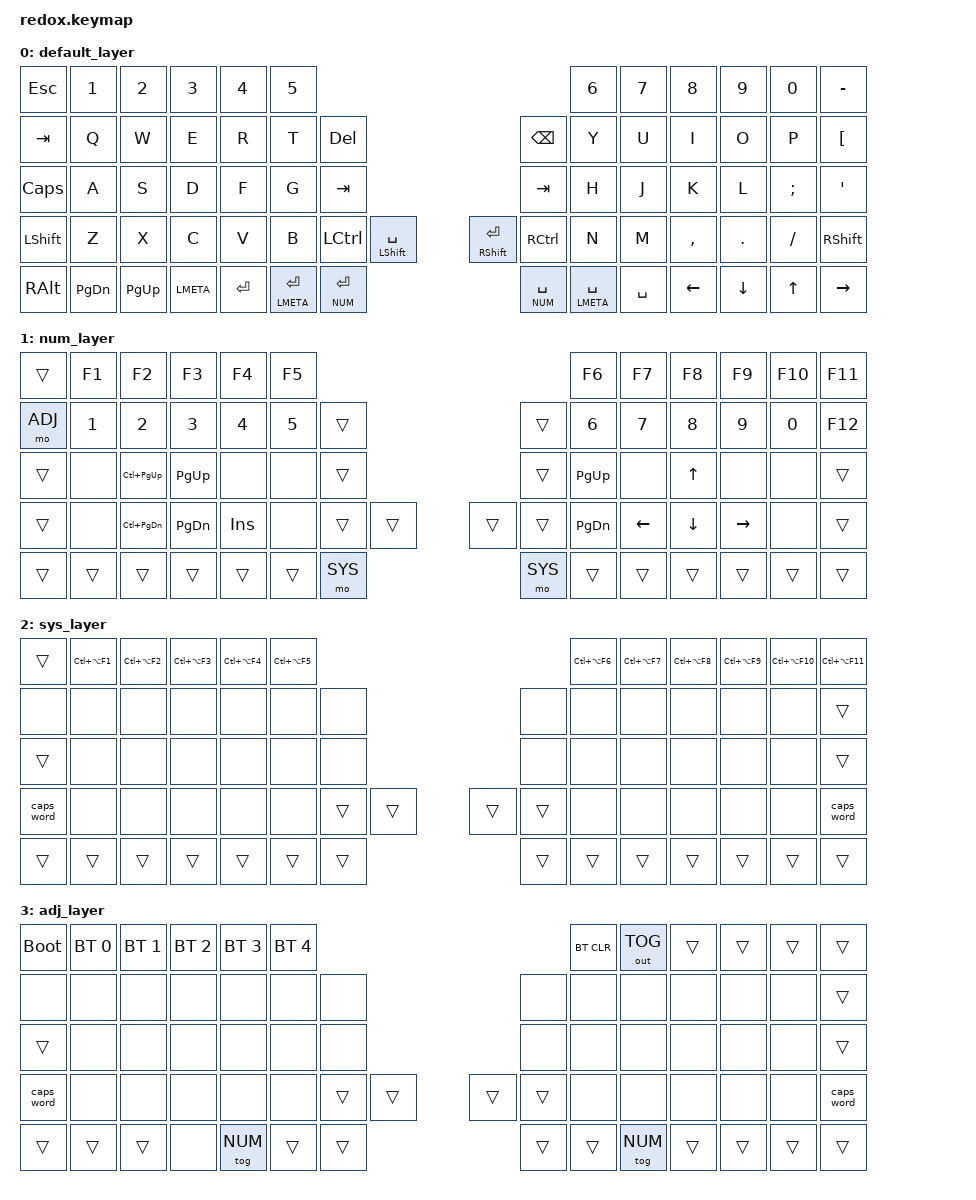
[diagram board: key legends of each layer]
/*
 * Copyright (c) 2021 The ZMK Contributors
 *
 * SPDX-License-Identifier: MIT
 */

#include <behaviors.dtsi>
#include <dt-bindings/zmk/keys.h>
#include <dt-bindings/zmk/bt.h>
#include <dt-bindings/zmk/ext_power.h>
#include <dt-bindings/zmk/outputs.h>

#define DEFAULT 0
#define NUM     1
#define SYS     2
#define ADJ     3

#define PTAB LC(PG_UP)
#define NTAB LC(PG_DN)

/ {
    behaviors {
        // This is mod-tap with the "balanced" flavor.
        // Improves the '&mt RCTRL SPACE' behavior when typing quickly.
        bmt: balanced_mod_tap {
			compatible = "zmk,behavior-hold-tap";
			label = "MOD_TAP";
			#binding-cells = <2>;
			flavor = "balanced";
			tapping-term-ms = <200>;
			bindings = <&kp>, <&kp>;
        };
    };

    keymap {
        compatible =  "zmk,keymap" ;

        // codes: https://zmk.dev/docs/codes/

		default_layer { // 0
			bindings = <
//+---------+---------+---------+---------+---------+---------+                                                             +---------+---------+---------+---------+---------+---------+
//|         |         |         |         |         |         |                                                             |         |         |         |         |         |         |
  &kp ESC   &kp N1    &kp N2    &kp N3    &kp N4    &kp N5      /* ---------+                                 +--------- */ &kp N6    &kp N7    &kp N8    &kp N9    &kp N0    &kp MINUS
  &kp TAB   &kp Q     &kp W     &kp E     &kp R     &kp T     &kp DEL                                         &kp BSPC      &kp Y     &kp U     &kp I     &kp O     &kp P     &kp LEFT_BRACKET
  &kp CAPS  &kp A     &kp S     &kp D     &kp F     &kp G     &kp TAB         /* ---------+     +--------- */ &kp TAB       &kp H     &kp J     &kp K     &kp L     &kp SEMI  &kp SQT
  &kp LSHFT &kp Z     &kp X     &kp C     &kp V     &kp B     &kp LCTRL     &mt LSHFT SPC       &mt RSHFT RET &kp RCTRL     &kp N     &kp M     &kp COMMA &kp DOT   &kp FSLH  &kp RSHIFT
  &kp RALT  &kp PG_DN &kp PG_UP &kp LMETA &kp RET             &bmt LMETA RET &lt NUM RET        &lt NUM SPC   &bmt LMETA SPC &kp SPC            &kp LEFT  &kp DOWN  &kp UP    &kp RIGHT
//|         |         |         |         |                   |             |             |     |             |             |                   |         |         |         |         |
//+---------+---------+---------+---------+-------------------+-------------+-------------+     +-------------+-------------+-------------------+---------+---------+---------+---------+
			>;
        };
		num_layer { // 1
			bindings = <
//+---------+---------+---------+---------+---------+---------+                                                             +---------+---------+---------+---------+---------+---------+
//|         |         |         |         |         |         |                                                             |         |         |         |         |         |         |
  &trans    &kp F1    &kp F2    &kp F3    &kp F4    &kp F5      /* ---------+                                 +--------- */ &kp F6    &kp F7    &kp F8    &kp F9    &kp F10   &kp F11
  &mo ADJ   &kp N1    &kp N2    &kp N3    &kp N4    &kp N5    &trans                                          &trans        &kp N6    &kp N7    &kp N8    &kp N9    &kp N0    &kp F12
  &trans    &none     &kp PTAB  &kp PG_UP &none     &none     &trans          /* ---------+     +--------- */ &trans        &kp PG_UP &none     &kp UP    &none     &none     &trans
  &trans    &none     &kp NTAB  &kp PG_DN &kp INS   &none     &trans        &trans              &trans        &trans        &kp PG_DN &kp LEFT  &kp DOWN  &kp RIGHT &none     &trans
  &trans    &trans    &trans    &trans    &trans              &trans        &mo SYS             &mo SYS       &trans        &trans              &trans    &trans    &trans    &trans
//|         |         |         |         |                   |             |             |     |             |             |                   |         |         |         |         |
//+---------+---------+---------+---------+-------------------+-------------+-------------+     +-------------+-------------+-------------------+---------+---------+---------+---------+
			>;
		};
		sys_layer { // 2
			bindings = <
//+---------+---------+---------+---------+---------+---------+                                                             +---------+---------+---------+---------+---------+---------+
//|         |         |         |         |         |         |                                                             |         |         |         |         |         |         |
  &trans &kp LC(LA(F1)) &kp LC(LA(F2)) &kp LC(LA(F3)) &kp LC(LA(F4)) &kp LC(LA(F5)) /* ---------+ +--------- */ &kp LC(LA(F6)) &kp LC(LA(F7)) &kp LC(LA(F8)) &kp LC(LA(F9)) &kp LC(LA(F10)) &kp LC(LA(F11))
  &none     &none     &none     &none     &none     &none     &none                                           &none         &none     &none     &none     &none     &none     &trans
  &trans    &none     &none     &none     &none     &none     &none           /* ---------+     +--------- */ &none         &none     &none     &none     &none     &none     &trans
  &caps_word &none    &none     &none     &none     &none     &trans        &trans              &trans        &trans        &none     &none     &none     &none     &none     &caps_word
  &trans    &trans    &trans    &trans    &trans              &trans        &trans              &trans        &trans        &trans              &trans    &trans    &trans    &trans
//|         |         |         |         |                   |             |             |     |             |             |                   |         |         |         |         |
//+---------+---------+---------+---------+-------------------+-------------+-------------+     +-------------+-------------+-------------------+---------+---------+---------+---------+
			>;
		};
		adj_layer { // 3
			bindings = <
//+---------+---------+---------+---------+---------+---------+                                                             +---------+---------+---------+---------+---------+---------+
//|         |         |         |         |         |         |                                                             |         |         |         |         |         |         |
  &bootloader &bt BT_SEL 0 &bt BT_SEL 1 &bt BT_SEL 2 &bt BT_SEL 3 &bt BT_SEL 4                                              &bt BT_CLR &out OUT_TOG &trans &trans   &trans    &trans
  &none     &none     &none     &none     &none     &none     &none                                           &none         &none     &none     &none     &none     &none     &trans
  &trans    &none     &none     &none     &none     &none     &none           /* ---------+     +--------- */ &none         &none     &none     &none     &none     &none     &trans
  &caps_word &none    &none     &none     &none     &none     &trans        &trans              &trans        &trans        &none     &none     &none     &none     &none     &caps_word
  &trans    &trans    &trans    &none     &tog NUM            &trans        &trans              &trans        &trans        &tog NUM            &trans    &trans    &trans    &trans
//|         |         |         |         |                   |             |             |     |             |             |                   |         |         |         |         |
//+---------+---------+---------+---------+-------------------+-------------+-------------+     +-------------+-------------+-------------------+---------+---------+---------+---------+
			>;
		};
    };
};
